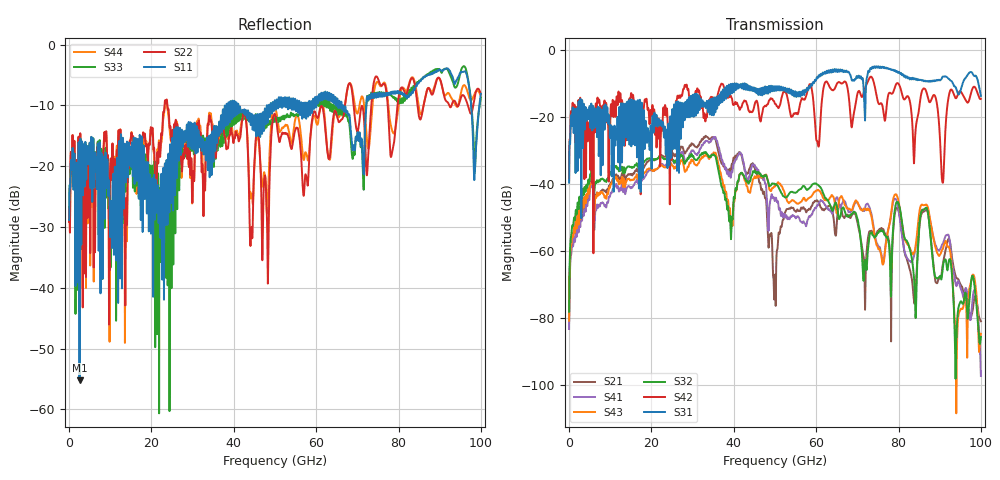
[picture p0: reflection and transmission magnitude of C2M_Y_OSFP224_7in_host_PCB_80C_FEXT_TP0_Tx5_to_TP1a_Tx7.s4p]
# GHz S RI R 45
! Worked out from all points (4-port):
!   4000 points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, 25 MHz to 100 GHz, reference 45 ohm
!   strongest paths, dB at 25 MHz, 25.02 GHz, 50.02 GHz, 75.03 GHz, 100 GHz:
!     S31: -39.6, -18.0, -10.8, -4.9, -13.7
!     S42: -38.9, -28.8, -16.1, -15.6, -14.6
!     S32: -78.0, -32.5, -40.1, -54.5, -85.6
!     S43: -80.8, -34.4, -40.7, -59.1, -84.7
!     S41: -83.2, -32.8, -44.9, -58.5, -97.3
!     S21: -80.9, -30.6, -67.1, -53.9, -80.9
!   lowest |S11| = -55.2 dB at 2.55 GHz (marker M1), VSWR 1.00, Z = 45 - j0.156 ohm
!   |S11| at or under -10 dB: start of sweep to 38.24 GHz; 41.14 GHz to 48.02 GHz (6.884 GHz wide, 15.4 % of centre); 66.61 GHz to 72.19 GHz (5.585 GHz wide, 8.05 % of centre) (the widest 3 of 39)
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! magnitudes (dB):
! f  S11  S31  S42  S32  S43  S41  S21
! 25 MHz  -28.8  -39.6  -38.9  -78.0  -80.8  -83.2  -80.9
! 2.55 GHz  -55.2  -32.1  -20.4  -43.8  -47.1  -49.6  -46.7
! 35.25 GHz  -13.5  -14.7  -14.8  -31.4  -30.7  -26.2  -26.3
! 49.88 GHz  -9.8  -11.4  -15.6  -39.9  -40.7  -44.8  -70.7
! 84 GHz  -7.2  -8.5  -26.7  -74.3  -59.7  -60.2  -73.9
! 86.6 GHz  -5.1  -9.4  -12.0  -47.1  -46.1  -47.3  -47.8
! 100 GHz  -8.1  -13.7  -14.6  -85.6  -84.7  -97.3  -80.9
